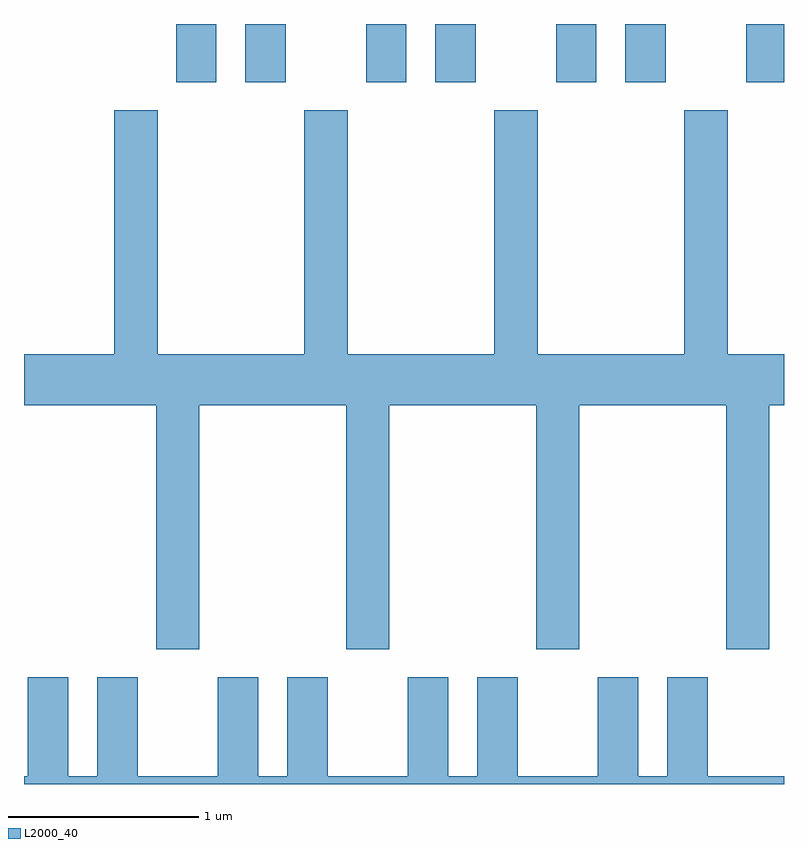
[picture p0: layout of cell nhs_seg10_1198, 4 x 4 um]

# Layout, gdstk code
import gdstk
lib = gdstk.Library(unit=1e-6, precision=1e-09)
def R(c, l, rs):  # rectangles x0, y0, x1, y1
    for r in rs: c.add(gdstk.rectangle(r[:2], r[2:], *l))
def P(c, l, *ps):  # polygons
    for p in ps: c.add(gdstk.Polygon(p, *l))
L2000_40 = (2000, 40)

nhs_seg10_1198 = lib.new_cell('nhs_seg10_1198')
R(nhs_seg10_1198, L2000_40, [(220.411,2182.216,220.624,2182.522), (220.776,2182.216,220.989,2182.522), (221.411,2182.216,221.624,2182.522), (221.776,2182.216,221.989,2182.522), (222.411,2182.216,222.624,2182.522), (222.776,2182.216,222.989,2182.522), (223.411,2182.216,223.611,2182.522)])
P(nhs_seg10_1198, L2000_40, [(220.534,2180.516),(221.306,2180.516),(221.306,2179.231),(221.534,2179.231),(221.534,2180.516),(222.306,2180.516),(222.306,2179.231),(222.534,2179.231),(222.534,2180.516),(223.306,2180.516),(223.306,2179.231),(223.534,2179.231),(223.534,2180.516),(223.611,2180.516),(223.611,2180.784),(223.314,2180.784),(223.314,2182.069),(223.086,2182.069),(223.086,2180.784),(222.314,2180.784),(222.314,2182.069),(222.086,2182.069),(222.086,2180.784),(221.314,2180.784),(221.314,2182.069),(221.086,2182.069),(221.086,2180.784),(220.314,2180.784),(220.314,2182.069),(220.086,2182.069),(220.086,2180.784),(219.611,2180.784),(219.611,2180.516),(220.306,2180.516),(220.306,2179.231),(220.534,2179.231)],
  [(223.611,2178.564),(223.209,2178.564),(223.209,2179.084),(222.996,2179.084),(222.996,2178.564),(222.844,2178.564),(222.844,2179.084),(222.631,2179.084),(222.631,2178.564),(222.209,2178.564),(222.209,2179.084),(221.996,2179.084),(221.996,2178.564),(221.844,2178.564),(221.844,2179.084),(221.631,2179.084),(221.631,2178.564),(221.209,2178.564),(221.209,2179.084),(220.996,2179.084),(220.996,2178.564),(220.844,2178.564),(220.844,2179.084),(220.631,2179.084),(220.631,2178.564),(220.209,2178.564),(220.209,2179.084),(219.996,2179.084),(219.996,2178.564),(219.844,2178.564),(219.844,2179.084),(219.631,2179.084),(219.631,2178.564),(219.611,2178.564),(219.611,2178.522),(223.611,2178.522)])

lib.write_gds('nhs_seg10_1198.gds')
